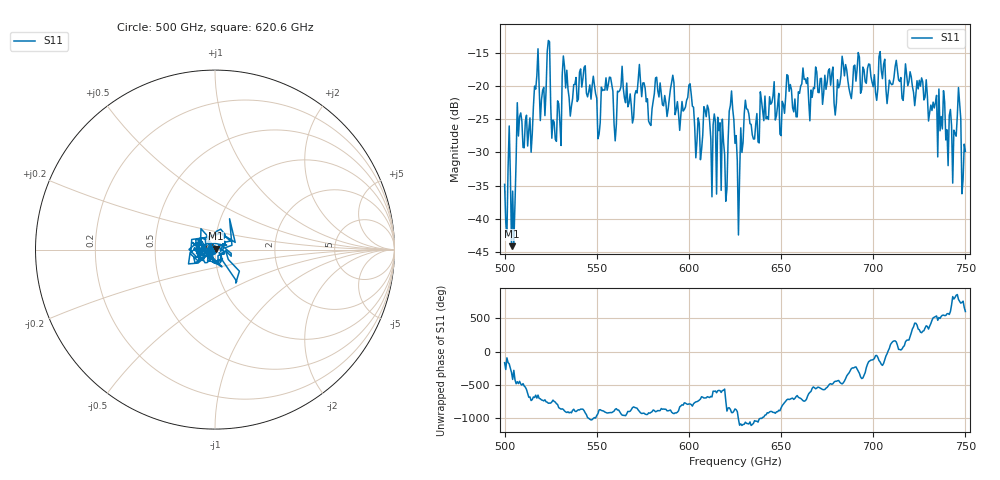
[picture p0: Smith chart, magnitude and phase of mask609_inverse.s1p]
!Created with skrf (http://scikit-rf.org).
# GHz S MA R 50.0
!freq magS11 angS11
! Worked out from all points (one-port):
!   401 points, 500 GHz to 750 GHz, reference 50 ohm
!   lowest |S11| = -44.1 dB at 503.8 GHz (marker M1), VSWR 1.01, Z = 50.4 + j0.44 ohm
!   |S11| at or under -10 dB: start of sweep to end of sweep
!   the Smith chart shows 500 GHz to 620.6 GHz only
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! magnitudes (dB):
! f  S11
! 500 GHz  -34.8
! 503.8 GHz  -44.1
! 505 GHz  -43.7
! 508.1 GHz  -24.6
! 513.8 GHz  -24.8
! 517.5 GHz  -18.5
! 520.6 GHz  -20.7
! 523.8 GHz  -13.2
! 526.9 GHz  -25.5
! 531.2 GHz  -18.4
! 542.5 GHz  -18.9
! 550.6 GHz  -28.0
! 562.5 GHz  -20.7
! 593.8 GHz  -22.4
! 600.6 GHz  -19.7
! 605 GHz  -24.8
! 609.4 GHz  -24.6
! 620 GHz  -37.4
! 623.1 GHz  -20.8
! 625 GHz  -28.6
! 627.5 GHz  -33.5
! 631.2 GHz  -23.5
! 656.2 GHz  -23.3
! 687.5 GHz  -21.2
! 718.8 GHz  -20.0
! 741.9 GHz  -23.6
! 746.2 GHz  -20.3
! 750 GHz  -29.9
